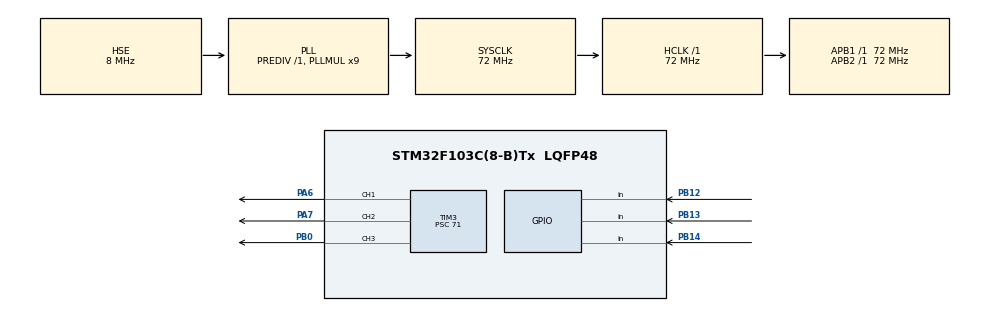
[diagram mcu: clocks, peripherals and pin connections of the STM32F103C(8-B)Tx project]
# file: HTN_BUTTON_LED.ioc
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FREERTOS.Tasks01=defaultTask,24,128,StartDefaultTask,Default,NULL,Dynamic,NULL,NULL
FREERTOS.configTOTAL_HEAP_SIZE=8192
Mcu.Family=STM32F1
Mcu.Name=STM32F103C(8-B)Tx
Mcu.Package=LQFP48
NVIC.PriorityGroup=NVIC_PRIORITYGROUP_4
NVIC.TIM1_UP_IRQn=true\:15\:0\:false\:false\:true\:false\:false\:true\:true
NVIC.TimeBase=TIM1_UP_IRQn
NVIC.TimeBaseIP=TIM1
PA13.Mode=Serial_Wire
PA13.Signal=SYS_JTMS-SWDIO
PA14.Mode=Serial_Wire
PA14.Signal=SYS_JTCK-SWCLK
PA6.Signal=S_TIM3_CH1
PA7.Signal=S_TIM3_CH2
PB0.Signal=S_TIM3_CH3
PB12.GPIO_PuPd=GPIO_PULLUP
PB12.Signal=GPIO_Input
PB13.GPIO_PuPd=GPIO_PULLUP
PB13.Signal=GPIO_Input
PB14.GPIO_PuPd=GPIO_PULLUP
PB14.Signal=GPIO_Input
PD0-OSC_IN.Mode=HSE-External-Oscillator
PD0-OSC_IN.Signal=RCC_OSC_IN
PD1-OSC_OUT.Mode=HSE-External-Oscillator
PD1-OSC_OUT.Signal=RCC_OSC_OUT
ProjectManager.HeapSize=0x200
ProjectManager.StackSize=0x400
ProjectManager.TargetToolchain=MDK-ARM V5.32
RCC.AHBFreq_Value=72000000
RCC.APB1Freq_Value=72000000
RCC.APB1TimFreq_Value=72000000
RCC.APB2Freq_Value=72000000
RCC.APB2TimFreq_Value=72000000
RCC.HCLKFreq_Value=72000000
RCC.PLLMUL=RCC_PLL_MUL9
RCC.PLLSourceVirtual=RCC_PLLSOURCE_HSE
RCC.SYSCLKFreq_VALUE=72000000
RCC.SYSCLKSource=RCC_SYSCLKSOURCE_PLLCLK
RCC.USBFreq_Value=72000000
SH.S_TIM3_CH1.0=TIM3_CH1,PWM Generation1 CH1
SH.S_TIM3_CH2.0=TIM3_CH2,PWM Generation2 CH2
SH.S_TIM3_CH3.0=TIM3_CH3,PWM Generation3 CH3
TIM3.Channel-PWM\ Generation1\ CH1=TIM_CHANNEL_1
TIM3.Channel-PWM\ Generation2\ CH2=TIM_CHANNEL_2
TIM3.Channel-PWM\ Generation3\ CH3=TIM_CHANNEL_3
TIM3.Prescaler=71
VP_FREERTOS_VS_CMSIS_V2.Mode=CMSIS_V2
VP_SYS_VS_tim1.Mode=TIM1
VP_TIM3_VS_ClockSourceINT.Mode=Internal
board=custom

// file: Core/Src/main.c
/* USER CODE BEGIN Header */
/**
  ******************************************************************************
  * @file           : main.c
  * @brief          : Main program body
  ******************************************************************************
  * @attention
  *
  * Copyright (c) 2026 STMicroelectronics.
  * All rights reserved.
  *
  * This software is licensed under terms that can be found in the LICENSE file
  * in the root directory of this software component.
  * If no LICENSE file comes with this software, it is provided AS-IS.
  *
  ******************************************************************************
  */
/* USER CODE END Header */
#include "main.h"
#include "cmsis_os2.h"
#include "tim.h"
#include "gpio.h"

/* USER CODE BEGIN PD */
#define DEBUG_NO_RTOS   0    /* dat = 1 de test PWM thuan, khong chay FreeRTOS */
/* USER CODE END PD */

/* USER CODE BEGIN PV */
volatile uint32_t g_reset_flags;   /* xem trong cua so Watch cua Keil */
/* USER CODE END PV */

void SystemClock_Config(void);
void MX_FREERTOS_Init(void);

int main(void)
{

  /* USER CODE BEGIN 1 */
  uint32_t tim3_clk;
  /* USER CODE END 1 */

  /* MCU Configuration--------------------------------------------------------*/

  /* Reset of all peripherals, Initializes the Flash interface and the Systick. */
  HAL_Init();

  /* USER CODE BEGIN Init */
  g_reset_flags = RCC->CSR;          /* luu nguyen nhan reset */
  __HAL_RCC_CLEAR_RESET_FLAGS();     /* xoa co de lan sau doc lai cho dung */
  /* USER CODE END Init */

  /* Configure the system clock */
  SystemClock_Config();

  /* Initialize all configured peripherals */
  MX_GPIO_Init();
  MX_TIM3_Init();
  /* USER CODE BEGIN 2 */
  /* Ep TIM3 chay dung 1kHz, khong phu thuoc cach cau hinh APB1/Prescaler trong CubeMX:
     tick = 1MHz (PSC = tim3_clk/1MHz - 1), ARR = 999 -> 1000 buoc, tan so 1kHz */
  tim3_clk = HAL_RCC_GetPCLK1Freq();
  if ((RCC->CFGR & RCC_CFGR_PPRE1) != RCC_CFGR_PPRE1_DIV1)
  {
    tim3_clk *= 2U;                           /* APB1 chia > 1 thi clock timer x2 */
  }
  __HAL_TIM_SET_PRESCALER(&htim3, (tim3_clk / 1000000U) - 1U);
  __HAL_TIM_SET_AUTORELOAD(&htim3, 999U);
  __HAL_TIM_SET_COMPARE(&htim3, TIM_CHANNEL_1, 0U);
  __HAL_TIM_SET_COMPARE(&htim3, TIM_CHANNEL_2, 0U);
  __HAL_TIM_SET_COMPARE(&htim3, TIM_CHANNEL_3, 0U);
  HAL_TIM_GenerateEvent(&htim3, TIM_EVENTSOURCE_UPDATE);   /* nap PSC/ARR ngay */

  HAL_TIM_PWM_Start(&htim3, TIM_CHANNEL_1);   /* LED1 - PA6 */
  HAL_TIM_PWM_Start(&htim3, TIM_CHANNEL_2);   /* LED2 - PA7 */
  HAL_TIM_PWM_Start(&htim3, TIM_CHANNEL_3);   /* LED3 - PB0 */

#if DEBUG_NO_RTOS
  /* Che do test: 3 LED sang 50% co dinh, khong dung RTOS */
  __HAL_TIM_SET_COMPARE(&htim3, TIM_CHANNEL_1, 500U);
  __HAL_TIM_SET_COMPARE(&htim3, TIM_CHANNEL_2, 500U);
  __HAL_TIM_SET_COMPARE(&htim3, TIM_CHANNEL_3, 500U);
  while (1) { }
#endif
  /* USER CODE END 2 */

  /* Init scheduler */
  osKernelInitialize();  /* Call init function for freertos objects (in cmsis_os2.c) */
  MX_FREERTOS_Init();    /* Tao queue + task (code nam trong freertos.c) */

  /* Start scheduler */
  osKernelStart();

  /* We should never get here as control is now taken by the scheduler */

  /* Infinite loop */
  while (1)
  {

  }
}

void SystemClock_Config(void)
{
  RCC_OscInitTypeDef RCC_OscInitStruct = {0};
  RCC_ClkInitTypeDef RCC_ClkInitStruct = {0};

  /** Initializes the RCC Oscillators according to the specified parameters
  * in the RCC_OscInitTypeDef structure.
  */
  RCC_OscInitStruct.OscillatorType = RCC_OSCILLATORTYPE_HSE;
  RCC_OscInitStruct.HSEState = RCC_HSE_ON;
  RCC_OscInitStruct.HSEPredivValue = RCC_HSE_PREDIV_DIV1;
  RCC_OscInitStruct.HSIState = RCC_HSI_ON;
  RCC_OscInitStruct.PLL.PLLState = RCC_PLL_ON;
  RCC_OscInitStruct.PLL.PLLSource = RCC_PLLSOURCE_HSE;
  RCC_OscInitStruct.PLL.PLLMUL = RCC_PLL_MUL9;
  if (HAL_RCC_OscConfig(&RCC_OscInitStruct) != HAL_OK)
  {
    Error_Handler();
  }

  /** Initializes the CPU, AHB and APB buses clocks
  */
  RCC_ClkInitStruct.ClockType = RCC_CLOCKTYPE_HCLK|RCC_CLOCKTYPE_SYSCLK
                              |RCC_CLOCKTYPE_PCLK1|RCC_CLOCKTYPE_PCLK2;
  RCC_ClkInitStruct.SYSCLKSource = RCC_SYSCLKSOURCE_PLLCLK;
  RCC_ClkInitStruct.AHBCLKDivider = RCC_SYSCLK_DIV1;
  RCC_ClkInitStruct.APB1CLKDivider = RCC_HCLK_DIV1;
  RCC_ClkInitStruct.APB2CLKDivider = RCC_HCLK_DIV1;

  if (HAL_RCC_ClockConfig(&RCC_ClkInitStruct, FLASH_LATENCY_2) != HAL_OK)
  {
    Error_Handler();
  }
}

void HAL_TIM_PeriodElapsedCallback(TIM_HandleTypeDef *htim)
{
  if (htim->Instance == TIM1)
  {
    HAL_IncTick();
  }
}

void Error_Handler(void)
{
  __disable_irq();
  while (1)
  {
  }
}

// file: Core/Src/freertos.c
/* USER CODE BEGIN Header */
/**
  ******************************************************************************
  * File Name          : freertos.c
  * Description        : Code for freertos applications
  ******************************************************************************
  * @attention
  *
  * Copyright (c) 2026 STMicroelectronics.
  * All rights reserved.
  *
  * This software is licensed under terms that can be found in the LICENSE file
  * in the root directory of this software component.
  * If no LICENSE file comes with this software, it is provided AS-IS.
  *
  ******************************************************************************
  */
/* USER CODE END Header */

#include "FreeRTOS.h"
#include "task.h"
#include "main.h"

/* USER CODE BEGIN Includes */
#include "queue.h"
#include "tim.h"
#include <stdint.h>
/* USER CODE END Includes */

/* USER CODE BEGIN PTD */
typedef struct {
    uint8_t brightness;          /* do sang 0..100 (%) */
} LedMsg_t;
/* USER CODE END PTD */

/* USER CODE BEGIN PD */
#define NUM_LED          3
#define BRIGHT_STEP      10      /* moi lan nhan +/- 10% */
#define BRIGHT_INIT      0       /* do sang ban dau (%): 3 LED tat, bam UP de tang */
#define PWM_PERIOD       1000    /* ARR + 1 -> 1kHz */
#define BTN_POLL_MS      20      /* chu ky quet nut */
#define DEBOUNCE_COUNT   3       /* 3 x 20ms = 60ms on dinh */

/* ===== CAU HINH CHAN NUT NHAN - SUA CHO DUNG VOI MACH CUA BAN ===== */
#define BTN_SEL_PORT     GPIOB
#define BTN_SEL_PIN      GPIO_PIN_12   /* nut chuyen LED */
#define BTN_UP_PORT      GPIOB
#define BTN_UP_PIN       GPIO_PIN_13   /* nut tang do sang */
#define BTN_DN_PORT      GPIOB
#define BTN_DN_PIN       GPIO_PIN_14   /* nut giam do sang */

/* Muc logic khi nhan nut:
 *   GPIO_PIN_RESET : nut noi chan -> GND (dung pull-up)   <- mac dinh
 *   GPIO_PIN_SET   : nut noi chan -> 3.3V (dung pull-down) */
#define BTN_PRESSED_STATE  GPIO_PIN_RESET
/* USER CODE END PD */

/* USER CODE BEGIN Variables */
static QueueHandle_t ledQueue[NUM_LED];
static const uint32_t pwmChannel[NUM_LED] = { TIM_CHANNEL_1, TIM_CHANNEL_2, TIM_CHANNEL_3 };

/* Bien theo doi - them vao cua so Watch cua Keil de kiem tra */
volatile uint8_t g_btnRaw   = 0;   /* bit0=SELECT, bit1=UP, bit2=DOWN (1 = dang nhan, chua loc) */
volatile uint8_t g_btnStable = 0;  /* nhu tren nhung da loc nhieu */
volatile uint8_t g_selected = 0;   /* LED dang duoc chon (0,1,2) */
volatile uint8_t g_level[NUM_LED]; /* do sang 3 LED (%) */
volatile uint32_t g_btnPressCount = 0; /* so lan phat hien nhan nut */
/* USER CODE END Variables */

/* USER CODE BEGIN FunctionPrototypes */
void App_Init(void);
static void ButtonTask(void *argument);
static void LedTask(void *argument);
/* USER CODE END FunctionPrototypes */

/* USER CODE BEGIN Application */

/* Dat do sang LED: percent 0..100 -> CCR 0..1000 */
static void Led_SetBrightness(uint8_t led, uint8_t percent)
{
    if (percent > 100) percent = 100;
    /* Hieu chinh gamma (binh phuong): mat nguoi cam nhan do sang phi tuyen,
       neu dung duty tuyen tinh thi tu 50% len 100% gan nhu khong thay doi */
    uint32_t ccr = ((uint32_t)percent * percent * PWM_PERIOD) / 10000U;
    __HAL_TIM_SET_COMPARE(&htim3, pwmChannel[led], ccr);
}

/* Cau hinh 3 chan nut la Input + Pull phu hop (khong phu thuoc CubeMX) */
static void Button_GpioInit(void)
{
    GPIO_InitTypeDef gi = {0};

    __HAL_RCC_GPIOA_CLK_ENABLE();
    __HAL_RCC_GPIOB_CLK_ENABLE();
    __HAL_RCC_GPIOC_CLK_ENABLE();

    gi.Mode = GPIO_MODE_INPUT;
    gi.Pull = (BTN_PRESSED_STATE == GPIO_PIN_RESET) ? GPIO_PULLUP : GPIO_PULLDOWN;

    gi.Pin = BTN_SEL_PIN; HAL_GPIO_Init(BTN_SEL_PORT, &gi);
    gi.Pin = BTN_UP_PIN;  HAL_GPIO_Init(BTN_UP_PORT,  &gi);
    gi.Pin = BTN_DN_PIN;  HAL_GPIO_Init(BTN_DN_PORT,  &gi);
}

/* Doc 1 nut: tra ve 1 neu dang nhan */
static inline uint8_t Btn_IsPressed(GPIO_TypeDef *port, uint16_t pin)
{
    return (HAL_GPIO_ReadPin(port, pin) == BTN_PRESSED_STATE) ? 1U : 0U;
}

/* Loc nhieu: chi doi trang thai khi doc giong nhau DEBOUNCE_COUNT lan lien tiep */
static uint8_t Debounce(uint8_t raw, uint8_t *cnt, uint8_t *stable)
{
    if (raw == *stable) {
        *cnt = 0;
    } else if (++(*cnt) >= DEBOUNCE_COUNT) {
        *stable = raw;
        *cnt = 0;
    }
    return *stable;
}

/* Task doc 3 nut nhan, gui du lieu qua Queue sang cac task LED */
static void ButtonTask(void *argument)
{
    (void)argument;

    uint8_t selected = 0;                         /* LED dang chon */
    uint8_t level[NUM_LED] = { BRIGHT_INIT, BRIGHT_INIT, BRIGHT_INIT };
    uint8_t cnt[3] = {0, 0, 0};
    uint8_t stb[3];
    uint8_t prev[3];
    LedMsg_t msg;
    uint8_t i;

    /* Khoi tao trang thai on dinh = trang thai thuc te luc bat dau,
       tranh bi "nhan gia" ngay luc khoi dong */
    stb[0] = Btn_IsPressed(BTN_SEL_PORT, BTN_SEL_PIN);
    stb[1] = Btn_IsPressed(BTN_UP_PORT,  BTN_UP_PIN);
    stb[2] = Btn_IsPressed(BTN_DN_PORT,  BTN_DN_PIN);
    prev[0] = stb[0]; prev[1] = stb[1]; prev[2] = stb[2];

    /* Gui do sang ban dau cho ca 3 LED */
    for (i = 0; i < NUM_LED; i++) {
        g_level[i] = level[i];
        msg.brightness = level[i];
        xQueueSend(ledQueue[i], &msg, 0);
    }

    for (;;) {
        uint8_t rawSel = Btn_IsPressed(BTN_SEL_PORT, BTN_SEL_PIN);
        uint8_t rawUp  = Btn_IsPressed(BTN_UP_PORT,  BTN_UP_PIN);
        uint8_t rawDn  = Btn_IsPressed(BTN_DN_PORT,  BTN_DN_PIN);

        uint8_t curSel = Debounce(rawSel, &cnt[0], &stb[0]);
        uint8_t curUp  = Debounce(rawUp,  &cnt[1], &stb[1]);
        uint8_t curDn  = Debounce(rawDn,  &cnt[2], &stb[2]);

        g_btnRaw    = (uint8_t)(rawSel | (rawUp << 1) | (rawDn << 2));
        g_btnStable = (uint8_t)(curSel | (curUp << 1) | (curDn << 2));

        /* Nut chuyen LED: LED1 -> LED2 -> LED3 -> LED1 */
        if (curSel && !prev[0]) {
            selected = (uint8_t)((selected + 1U) % NUM_LED);
            g_selected = selected;
            g_btnPressCount++;
        }

        /* Nut tang do sang */
        if (curUp && !prev[1]) {
            level[selected] = (level[selected] + BRIGHT_STEP > 100) ? 100 : (uint8_t)(level[selected] + BRIGHT_STEP);
            g_level[selected] = level[selected];
            msg.brightness = level[selected];
            xQueueSend(ledQueue[selected], &msg, 0);
            g_btnPressCount++;
        }

        /* Nut giam do sang */
        if (curDn && !prev[2]) {
            level[selected] = (level[selected] < BRIGHT_STEP) ? 0 : (uint8_t)(level[selected] - BRIGHT_STEP);
            g_level[selected] = level[selected];
            msg.brightness = level[selected];
            xQueueSend(ledQueue[selected], &msg, 0);
            g_btnPressCount++;
        }

        prev[0] = curSel;
        prev[1] = curUp;
        prev[2] = curDn;

        vTaskDelay(pdMS_TO_TICKS(BTN_POLL_MS));
    }
}

/* Task LED: 3 task dung chung ham nay, tham so = chi so LED (0,1,2) */
static void LedTask(void *argument)
{
    uint8_t idx = (uint8_t)(uintptr_t)argument;
    LedMsg_t msg;

    for (;;) {
        /* Cho cho den khi Task nut nhan gui du lieu moi */
        if (xQueueReceive(ledQueue[idx], &msg, portMAX_DELAY) == pdPASS) {
            Led_SetBrightness(idx, msg.brightness);
        }
    }
}

/* Tao queue + task, goi tu MX_FREERTOS_Init() */
void App_Init(void)
{
    uint8_t i;

    Button_GpioInit();

    for (i = 0; i < NUM_LED; i++) {
        ledQueue[i] = xQueueCreate(4, sizeof(LedMsg_t));
        if (ledQueue[i] == NULL) { Error_Handler(); }   /* thieu heap */
    }

    if (xTaskCreate(LedTask,    "Led1Task",   128, (void *)0, 1, NULL) != pdPASS) { Error_Handler(); }
    if (xTaskCreate(LedTask,    "Led2Task",   128, (void *)1, 1, NULL) != pdPASS) { Error_Handler(); }
    if (xTaskCreate(LedTask,    "Led3Task",   128, (void *)2, 1, NULL) != pdPASS) { Error_Handler(); }
    if (xTaskCreate(ButtonTask, "ButtonTask", 256, NULL,      1, NULL) != pdPASS) { Error_Handler(); }
}

/* Ham nay duoc main.c goi (main.c da khai bao san MX_FREERTOS_Init) */
void MX_FREERTOS_Init(void)
{
    App_Init();
}

/* USER CODE END Application */
